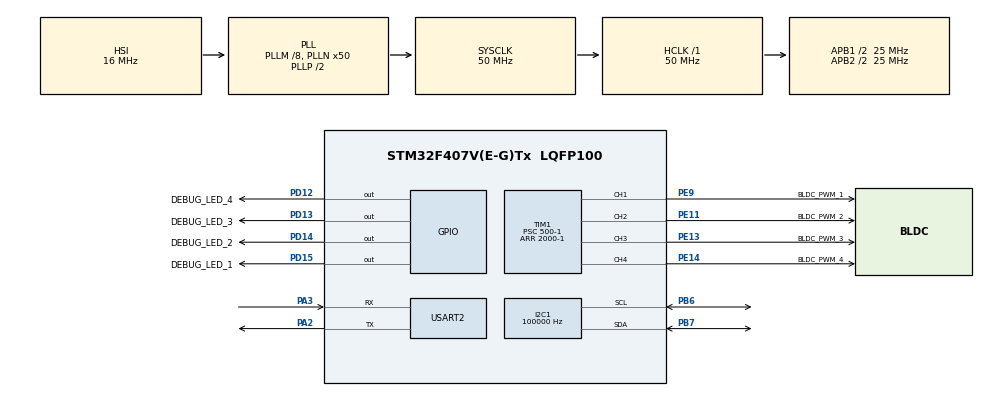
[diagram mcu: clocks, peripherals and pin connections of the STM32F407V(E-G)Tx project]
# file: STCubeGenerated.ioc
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Dma.I2C1_RX.0.Direction=DMA_PERIPH_TO_MEMORY
Dma.I2C1_RX.0.FIFOMode=DMA_FIFOMODE_DISABLE
Dma.I2C1_RX.0.Instance=DMA1_Stream0
Dma.I2C1_RX.0.MemDataAlignment=DMA_MDATAALIGN_BYTE
Dma.I2C1_RX.0.MemInc=DMA_MINC_ENABLE
Dma.I2C1_RX.0.Mode=DMA_NORMAL
Dma.I2C1_RX.0.PeriphDataAlignment=DMA_PDATAALIGN_BYTE
Dma.I2C1_RX.0.PeriphInc=DMA_PINC_DISABLE
Dma.I2C1_RX.0.Priority=DMA_PRIORITY_LOW
Dma.I2C1_TX.1.Direction=DMA_MEMORY_TO_PERIPH
Dma.I2C1_TX.1.FIFOMode=DMA_FIFOMODE_DISABLE
Dma.I2C1_TX.1.Instance=DMA1_Stream6
Dma.I2C1_TX.1.MemDataAlignment=DMA_MDATAALIGN_BYTE
Dma.I2C1_TX.1.MemInc=DMA_MINC_ENABLE
Dma.I2C1_TX.1.Mode=DMA_NORMAL
Dma.I2C1_TX.1.PeriphDataAlignment=DMA_PDATAALIGN_BYTE
Dma.I2C1_TX.1.PeriphInc=DMA_PINC_DISABLE
Dma.I2C1_TX.1.Priority=DMA_PRIORITY_LOW
Dma.Request0=I2C1_RX
Dma.Request1=I2C1_TX
I2C1.ClockSpeed=100000
I2C1.I2C_Mode=I2C_Standard
Mcu.Family=STM32F4
Mcu.Name=STM32F407V(E-G)Tx
Mcu.Package=LQFP100
NVIC.DMA1_Stream0_IRQn=true\:0\:0\:false\:false\:true\:false\:true\:true
NVIC.DMA1_Stream6_IRQn=true\:0\:0\:false\:false\:true\:false\:true\:true
NVIC.I2C1_ER_IRQn=true\:0\:0\:false\:false\:true\:true\:true\:true
NVIC.I2C1_EV_IRQn=true\:0\:0\:false\:false\:true\:true\:true\:true
NVIC.PriorityGroup=NVIC_PRIORITYGROUP_4
NVIC.TIM8_TRG_COM_TIM14_IRQn=true\:15\:0\:false\:false\:true\:false\:true\:true
NVIC.TimeBase=TIM8_TRG_COM_TIM14_IRQn
NVIC.TimeBaseIP=TIM14
NVIC.USART2_IRQn=true\:0\:0\:false\:false\:true\:true\:true\:true
PA2.Mode=Asynchronous
PA2.Signal=USART2_TX
PA3.Mode=Asynchronous
PA3.Signal=USART2_RX
PB6.Mode=I2C
PB6.Signal=I2C1_SCL
PB7.Mode=I2C
PB7.Signal=I2C1_SDA
PD12.GPIO_Label=DEBUG_LED_4
PD12.Signal=GPIO_Output
PD13.GPIO_Label=DEBUG_LED_3
PD13.Signal=GPIO_Output
PD14.GPIO_Label=DEBUG_LED_2
PD14.Signal=GPIO_Output
PD15.GPIO_Label=DEBUG_LED_1
PD15.Signal=GPIO_Output
PE11.GPIO_Label=BLDC_PWM_2
PE11.Signal=S_TIM1_CH2
PE13.GPIO_Label=BLDC_PWM_3
PE13.Signal=S_TIM1_CH3
PE14.GPIO_Label=BLDC_PWM_4
PE14.Signal=S_TIM1_CH4
PE9.GPIO_Label=BLDC_PWM_1
PE9.Signal=S_TIM1_CH1
ProjectManager.HeapSize=0x200
ProjectManager.StackSize=0x400
ProjectManager.TargetToolchain=MDK-ARM V5
RCC.48MHZClocksFreq_Value=25000000
RCC.AHBFreq_Value=50000000
RCC.APB1CLKDivider=RCC_HCLK_DIV2
RCC.APB1Freq_Value=25000000
RCC.APB1TimFreq_Value=50000000
RCC.APB2CLKDivider=RCC_HCLK_DIV2
RCC.APB2Freq_Value=25000000
RCC.APB2TimFreq_Value=50000000
RCC.CortexFreq_Value=50000000
RCC.HCLKFreq_Value=50000000
RCC.HSE_VALUE=25000000
RCC.HSI_VALUE=16000000
RCC.LSE_VALUE=32768
RCC.PLLM=8
RCC.PLLN=50
RCC.SYSCLKFreq_VALUE=50000000
RCC.SYSCLKSource=RCC_SYSCLKSOURCE_PLLCLK
RCC.VCOOutputFreq_Value=100000000
SH.S_TIM1_CH1.0=TIM1_CH1,PWM Generation1 CH1
SH.S_TIM1_CH2.0=TIM1_CH2,PWM Generation2 CH2
SH.S_TIM1_CH3.0=TIM1_CH3,PWM Generation3 CH3
SH.S_TIM1_CH4.0=TIM1_CH4,PWM Generation4 CH4
TIM1.Channel-PWM\ Generation1\ CH1=TIM_CHANNEL_1
TIM1.Channel-PWM\ Generation2\ CH2=TIM_CHANNEL_2
TIM1.Channel-PWM\ Generation3\ CH3=TIM_CHANNEL_3
TIM1.Channel-PWM\ Generation4\ CH4=TIM_CHANNEL_4
TIM1.Period=2000-1
TIM1.Prescaler=500-1
USART2.VirtualMode=VM_ASYNC
VP_SYS_VS_tim14.Mode=TIM14
VP_TIM1_VS_ClockSourceINT.Mode=Internal
board=custom

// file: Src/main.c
/* USER CODE BEGIN Header */
/**
  ******************************************************************************
  * @file           : main.c
  * @brief          : Main program body
  ******************************************************************************
  * @attention
  *
  * Copyright (c) 2022 STMicroelectronics.
  * All rights reserved.
  *
  * This software is licensed under terms that can be found in the LICENSE file
  * in the root directory of this software component.
  * If no LICENSE file comes with this software, it is provided AS-IS.
  *
  ******************************************************************************
  */
/* USER CODE END Header */
#include "main.h"
#include "dma.h"
#include "i2c.h"
#include "tim.h"
#include "usart.h"
#include "gpio.h"

/* USER CODE BEGIN Includes */
#include "RTE_Components.h"

#ifdef RTE_Compiler_EventRecorder
	#include "EventRecorder.h"
#endif

#include "cmsis_os2.h"
#include "app_main.h"
/* USER CODE END Includes */

/* USER CODE BEGIN PV */
extern I2C_HandleTypeDef 		hi2c1;
extern UART_HandleTypeDef 	huart2;

/* USER CODE END PV */

void SystemClock_Config(void);

/* USER CODE BEGIN 0 */

/**
  * @brief
  * @param[IN]
  * @retval
  */
uint32_t HAL_GetTick (void)
{
	static uint32_t ticks = 0U;
	uint32_t i;

	if(osKernelGetState() == osKernelRunning)
	{
		return ((uint32_t)osKernelGetTickCount());
	}

	/* If Kernel is not running wait approximately 1 ms then increment and return auxiliary tick counter value */
	for(i = (SystemCoreClock >> 14U); i > 0U; i--)
	{ __NOP(); __NOP(); __NOP(); __NOP(); __NOP(); __NOP(); __NOP(); __NOP(); __NOP(); __NOP(); __NOP(); __NOP(); }

	return ++ticks;
}

/* USER CODE END 0 */

int main(void)
{

  /* MCU Configuration--------------------------------------------------------*/

  /* Reset of all peripherals, Initializes the Flash interface and the Systick. */
  HAL_Init();

  /* Configure the system clock */
  SystemClock_Config();

  /* Initialize all configured peripherals */
  MX_GPIO_Init();
  MX_DMA_Init();
  MX_I2C1_Init();
  MX_USART2_UART_Init();
  MX_TIM1_Init();
  /* USER CODE BEGIN 2 */
#ifdef RTE_Compiler_EventRecorder
	EventRecorderInitialize(EventRecordAll, 1);
#endif

	SystemCoreClockUpdate();
  osKernelInitialize();                 // Initialize CMSIS-RTOS
  osThreadNew(APP_Main, NULL, NULL);    // Create application main thread
  osKernelStart();

  /* USER CODE END 2 */

  /* Infinite loop */
  while (1)
  {

  }
}

void SystemClock_Config(void)
{
  RCC_OscInitTypeDef RCC_OscInitStruct = {0};
  RCC_ClkInitTypeDef RCC_ClkInitStruct = {0};

  /** Configure the main internal regulator output voltage
  */
  __HAL_RCC_PWR_CLK_ENABLE();
  __HAL_PWR_VOLTAGESCALING_CONFIG(PWR_REGULATOR_VOLTAGE_SCALE1);

  /** Initializes the RCC Oscillators according to the specified parameters
  * in the RCC_OscInitTypeDef structure.
  */
  RCC_OscInitStruct.OscillatorType = RCC_OSCILLATORTYPE_HSI;
  RCC_OscInitStruct.HSIState = RCC_HSI_ON;
  RCC_OscInitStruct.HSICalibrationValue = RCC_HSICALIBRATION_DEFAULT;
  RCC_OscInitStruct.PLL.PLLState = RCC_PLL_ON;
  RCC_OscInitStruct.PLL.PLLSource = RCC_PLLSOURCE_HSI;
  RCC_OscInitStruct.PLL.PLLM = 8;
  RCC_OscInitStruct.PLL.PLLN = 50;
  RCC_OscInitStruct.PLL.PLLP = RCC_PLLP_DIV2;
  RCC_OscInitStruct.PLL.PLLQ = 4;
  if (HAL_RCC_OscConfig(&RCC_OscInitStruct) != HAL_OK)
  {
    Error_Handler();
  }

  /** Initializes the CPU, AHB and APB buses clocks
  */
  RCC_ClkInitStruct.ClockType = RCC_CLOCKTYPE_HCLK|RCC_CLOCKTYPE_SYSCLK
                              |RCC_CLOCKTYPE_PCLK1|RCC_CLOCKTYPE_PCLK2;
  RCC_ClkInitStruct.SYSCLKSource = RCC_SYSCLKSOURCE_PLLCLK;
  RCC_ClkInitStruct.AHBCLKDivider = RCC_SYSCLK_DIV1;
  RCC_ClkInitStruct.APB1CLKDivider = RCC_HCLK_DIV2;
  RCC_ClkInitStruct.APB2CLKDivider = RCC_HCLK_DIV2;

  if (HAL_RCC_ClockConfig(&RCC_ClkInitStruct, FLASH_LATENCY_1) != HAL_OK)
  {
    Error_Handler();
  }
}

void HAL_TIM_PeriodElapsedCallback(TIM_HandleTypeDef *htim)
{
  if (htim->Instance == TIM14) {
    HAL_IncTick();
  }
}

void Error_Handler(void)
{
  __disable_irq();
  while (1)
  {
  }
}
